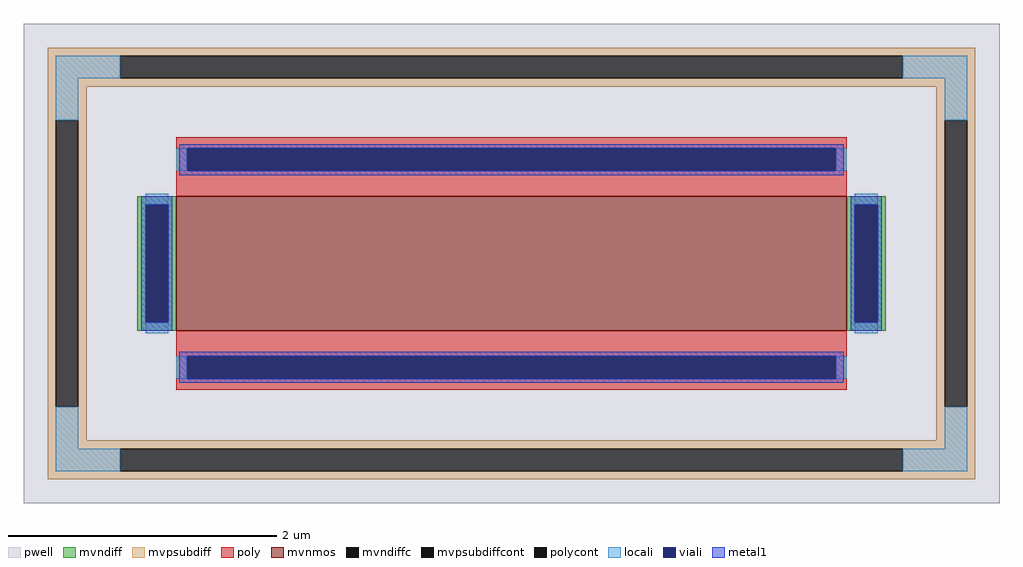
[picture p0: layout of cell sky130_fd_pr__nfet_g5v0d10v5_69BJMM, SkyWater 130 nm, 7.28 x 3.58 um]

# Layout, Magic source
magic
tech sky130A
<< pwell >>
rect -364 -179 364 179
<< mvnmos >>
rect -250 -50 250 50
<< mvndiff >>
rect -279 44 -250 50
rect -279 -44 -273 44
rect -256 -44 -250 44
rect -279 -50 -250 -44
rect 250 44 279 50
rect 250 -44 256 44
rect 273 -44 279 44
rect 250 -50 279 -44
<< mvndiffc >>
rect -273 -44 -256 44
rect 256 -44 273 44
<< mvpsubdiff >>
rect -346 155 346 161
rect -346 138 -292 155
rect 292 138 346 155
rect -346 132 346 138
rect -346 107 -317 132
rect -346 -107 -340 107
rect -323 -107 -317 107
rect 317 107 346 132
rect -346 -132 -317 -107
rect 317 -107 323 107
rect 340 -107 346 107
rect 317 -132 346 -107
rect -346 -138 346 -132
rect -346 -155 -292 -138
rect 292 -155 346 -138
rect -346 -161 346 -155
<< mvpsubdiffcont >>
rect -292 138 292 155
rect -340 -107 -323 107
rect 323 -107 340 107
rect -292 -155 292 -138
<< poly >>
rect -250 86 250 94
rect -250 69 -242 86
rect 242 69 250 86
rect -250 50 250 69
rect -250 -69 250 -50
rect -250 -86 -242 -69
rect 242 -86 250 -69
rect -250 -94 250 -86
<< polycont >>
rect -242 69 242 86
rect -242 -86 242 -69
<< locali >>
rect -340 138 -292 155
rect 292 138 340 155
rect -340 107 -323 138
rect 323 107 340 138
rect -250 69 -242 86
rect 242 69 250 86
rect -273 44 -256 52
rect -273 -52 -256 -44
rect 256 44 273 52
rect 256 -52 273 -44
rect -250 -86 -242 -69
rect 242 -86 250 -69
rect -340 -138 -323 -107
rect 323 -138 340 -107
rect -340 -155 -292 -138
rect 292 -155 340 -138
<< viali >>
rect -242 69 242 86
rect -273 -44 -256 44
rect 256 -44 273 44
rect -242 -86 242 -69
<< metal1 >>
rect -248 86 248 89
rect -248 69 -242 86
rect 242 69 248 86
rect -248 66 248 69
rect -276 44 -253 50
rect -276 -44 -273 44
rect -256 -44 -253 44
rect -276 -50 -253 -44
rect 253 44 276 50
rect 253 -44 256 44
rect 273 -44 276 44
rect 253 -50 276 -44
rect -248 -69 248 -66
rect -248 -86 -242 -69
rect 242 -86 248 -69
rect -248 -89 248 -86
<< properties >>
string FIXED_BBOX -331 -146 331 146
string gencell sky130_fd_pr__nfet_g5v0d10v5
string library sky130
string parameters w 1.0 l 5.0 m 1 nf 1 diffcov 100 polycov 100 guard 1 glc 1 grc 1 gtc 1 gbc 1 tbcov 100 rlcov 100 topc 1 botc 1 poverlap 0 doverlap 1 lmin 0.50 wmin 0.42 compatible {sky130_fd_pr__nfet_01v8 sky130_fd_pr__nfet_01v8_lvt  sky130_fd_bs_flash__special_sonosfet_star  sky130_fd_pr__nfet_g5v0d10v5 sky130_fd_pr__nfet_05v0_nvt  sky130_fd_pr__nfet_03v3_nvt} full_metal 1 viasrc 100 viadrn 100 viagate 100 viagb 0 viagr 0 viagl 0 viagt 0
<< end >>
